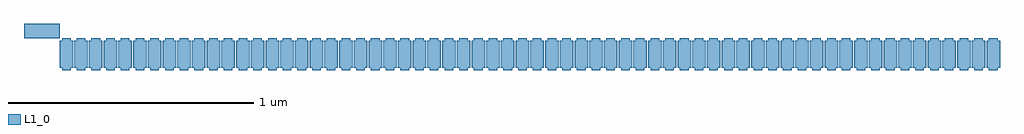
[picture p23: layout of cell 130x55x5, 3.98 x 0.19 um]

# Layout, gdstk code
import gdstk
lib = gdstk.Library(unit=1e-6, precision=1e-09)
def R(c, l, rs):  # rectangles x0, y0, x1, y1
    for r in rs: c.add(gdstk.rectangle(r[:2], r[2:], *l))
def P(c, l, *ps):  # polygons
    for p in ps: c.add(gdstk.Polygon(p, *l))
L1_0 = (1, 0)

c_130x55single = lib.new_cell('130x55single')
P(c_130x55single, L1_0, [(0,0),(0.01,0),(0.01,-0.01),(0.045,-0.01),(0.045,0),(0.055,0),(0.055,0.11),(0.045,0.11),(0.045,0.12),(0.01,0.12),(0.01,0.11),(0,0.11)])

c_130x55x5 = lib.new_cell('130x55x5')
R(c_130x55x5, L1_0, [(-0.145,0.13,0,0.19)])
r = gdstk.Reference(c_130x55single, (0,0.01)); r.repetition = gdstk.Repetition(64, 1, v1=(0.06,0), v2=(0,0)); c_130x55x5.add(r)

lib.write_gds('130x55x5.gds')
